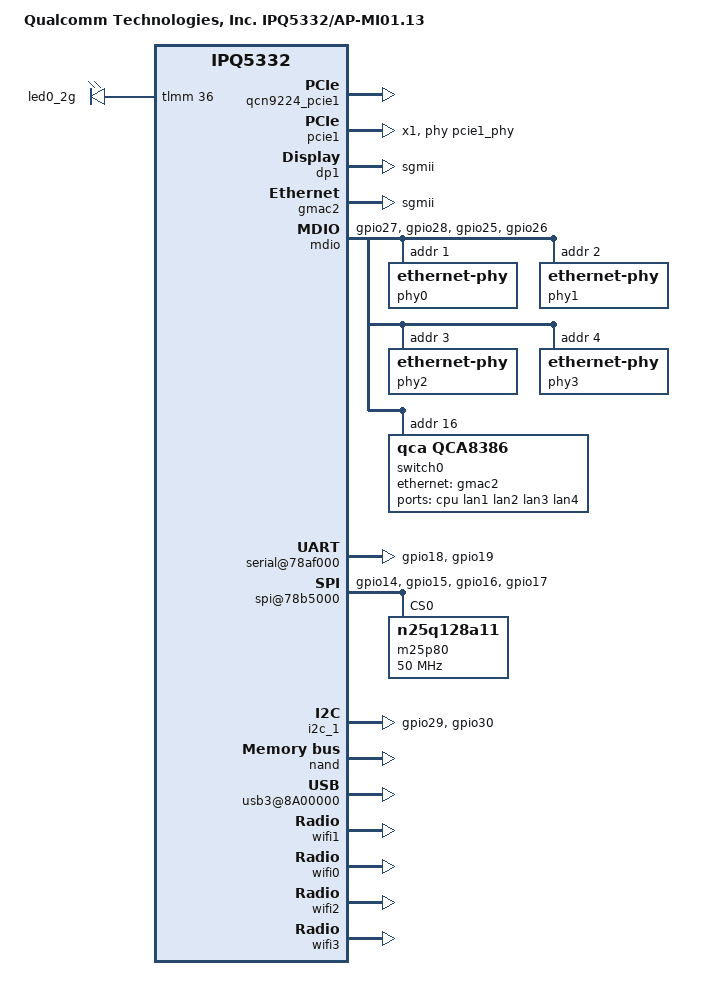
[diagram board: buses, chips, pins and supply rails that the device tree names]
// SPDX-License-Identifier: (GPL-2.0+ OR BSD-3-Clause)
/*
 * IPQ5332 AP-MI01.13 board device tree source
 *
 * Copyright (c) 2020-2021 The Linux Foundation. All rights reserved.
 * Copyright (c) 2022-2023 Qualcomm Innovation Center, Inc. All rights reserved.
 */

/dts-v1/;

#include "ipq5332.dtsi"
#include "ipq5332-memory.dtsi"

/ {
	#address-cells = <0x2>;
	#size-cells = <0x2>;
	model = "Qualcomm Technologies, Inc. IPQ5332/AP-MI01.13";
	compatible = "qcom,ipq5332-ap-mi01.13", "qcom,ipq5332";
	interrupt-parent = <&intc>;

	/*   Layout for IPQ5332 + QCN6432 + QCN9224 + QCN9160
	 * +==========+==============+========================+
	 * |         |              |                         |
	 * |  Region | Start Offset |          Size           |
	 * |         |              |                         |
	 * +---------+--------------+-------------------------+
	 * |   Q6    |              |                         |
	 * |  code/  |  0x4A900000  |          27MB           |
	 * |  data   |              |                         |
	 * +---------+--------------+-------------------------+
	 * | IPQ5332 |              |                         |
	 * |  data   |  0x4C400000  |          21MB           |
	 * +---------+--------------+-------------------------+
	 * | IPQ5332 |              |                         |
	 * | M3 Dump |  0x4D900000  |           1MB           |
	 * +---------+--------------+-------------------------+
	 * | IPQ5332 |              |                         |
	 * |  QDSS   |  0x4DA00000  |           1MB           |
	 * +---------+--------------+-------------------------+
	 * | IPQ5332 |              |                         |
	 * |  CALDB  |  0x4DB00000  |           5MB           |
	 * +---------+--------------+-------------------------+
	 * |QCN6432_1|              |                         |
	 * |  data   |  0x4E000000  |          21MB           |
	 * +---------+--------------+-------------------------+
	 * |QCN6432_1|              |                         |
	 * | M3 Dump |  0x4F500000  |           1MB           |
	 * +---------+--------------+-------------------------+
	 * |QCN6432_1|              |                         |
	 * |  QDSS   |  0x4F600000  |           1MB           |
	 * +---------+--------------+-------------------------+
	 * |QCN6432_1|              |                         |
	 * |  CALDB  |  0x4F700000  |           5MB           |
	 * +---------+--------------+-------------------------+
	 * | QCN9160 |              |                         |
	 * |  data   |  0x4FC00000  |          14MB           |
	 * +---------+--------------+-------------------------+
	 * | QCN9160 |              |                         |
	 * | M3 Dump |  0x50A00000  |           1MB           |
	 * +---------+--------------+-------------------------+
	 * | QCN9160 |              |                         |
	 * |  QDSS   |  0x50B00000  |           1MB           |
	 * +---------+--------------+-------------------------+
	 * | QCN9160 |              |                         |
	 * |  CALDB  |  0x50C00000  |           5MB           |
	 * +---------+--------------+-------------------------+
	 * |         |              |                         |
	 * |   MLO   |  0x51100000  |          18MB           |
	 * +---------+--------------+-------------------------+
	 * |         |              |                         |
	 * |  WKK1   |  0x52300000  |          50MB           |
	 * |         |              |                         |
	 * +---------+--------------+-------------------------+
	 * |         |              |                         |
	 * |  MHI1   |    DYNAMIC   |          9MB            |
	 * |         |              |                         |
	 * +==================================================+
	 * |                                                  |
	 * |                                                  |
	 * |                                                  |
	 * |             Rest of memory for Linux             |
	 * |                                                  |
	 * |                                                  |
	 * |                                                  |
	 * +==================================================+
	 */

	reserved-memory {

		/delete-node/ wcnss@4a900000;

		q6_mem_regions: q6_mem_regions@4A900000  {
			no-map;
			reg = <0x0 0x4a900000 0x0 0x6800000>;
		};

		q6_code_data: q6_code_data@4A900000 {
			no-map;
			reg = <0x0 0x4a900000 0x0 0x1B00000>;
		};

		q6_ipq5332_data: q6_ipq5332_data@4C400000 {
			no-map;
			reg = <0x0 0x4C400000 0x0 0x1500000>;
		};

		m3_dump: m3_dump@4D900000 {
			no-map;
			reg = <0x0 0x4D900000 0x0 0x100000>;
		};

		q6_etr_region: q6_etr_dump@4DA00000 {
			no-map;
			reg = <0x0 0x4DA00000 0x0 0x100000>;
		};

		q6_ipq5332_caldb: q6_ipq5332_caldb@4DB00000 {
			no-map;
			reg = <0x0 0x4DB00000 0x0 0x500000>;
		};

		q6_qcn6432_data_1: q6_qcn6432_data_1@4E000000 {
			no-map;
			reg = <0x0 0x4E000000 0x0 0x1500000>;
		};

		m3_dump_qcn6432_1: m3_dump_qcn6432_1@4F500000 {
			no-map;
			reg = <0x0 0x4F500000 0x0 0x100000>;
                };

		q6_qcn6432_etr_1: q6_qcn6432_etr_1@4F600000 {
			no-map;
			reg = <0x0 0x4F600000 0x0 0x100000>;
		};

		q6_qcn6432_caldb_1: q6_qcn6432_caldb_1@4F700000 {
			no-map;
			reg = <0x0 0x4F700000 0x0 0x500000>;
		};

		q6_qcn9160_data_2: q6_qcn9160_data_2@4FC00000 {
			no-map;
			reg = <0x0 0x4FC00000 0x0 0xe00000>;
		};

		m3_dump_qcn9160_2: m3_dump_qcn9160_2@50A00000 {
			no-map;
			reg = <0x0 0x50A00000 0x0 0x100000>;
		};

		q6_qcn9160_etr_2: q6_qcn9160_etr_2@50B00000 {
			no-map;
			reg = <0x0 0x50B00000 0x0 0x100000>;
		};

		q6_qcn9160_caldb_2: q6_qcn9160_caldb_2@50C00000 {
			no-map;
			reg = <0x0 0x50C00000 0x0 0x500000>;
		};

		mlo_global_mem0: mlo_global_mem_0@51100000 {
			no-map;
			reg = <0x0 0x51100000 0x0 0x1200000>;
		};

		qcn9224_pcie1: qcn9224_pcie1@52300000 {
			no-map;
			reg = <0x0 0x52300000 0x0 0x03200000>;
		};

		mhi_region1: dma_pool1@1 {
			compatible = "shared-dma-pool";
			no-map;
			size = <0x0 0x00900000>;
                };
	};

	aliases {
		serial0 = &blsp1_uart0;
		serial1 = &blsp1_uart1;
		ethernet0 = "/soc/dp1";
		ethernet1 = "/soc/dp2";
	};

	chosen {
		stdout-path = "serial0";
		bootargs-append = " clk_ignore_unused";
	};

	soc {
		pcie1_phy: phy@4b1000 {
			status = "ok";
		};

		pcie1: pcie@18000000 {
			num-lanes = <1>;
			phys = <&pcie1_phy>;
			status = "ok";
			pcie1_rp {
				reg = <0 0 0 0 0>;

				qcom,mhi@1 {
					reg = <0 0 0 0 0>;
					qti,disable-rddm-prealloc;
					qti,rddm-seg-len = <0x1000>;
					boot-args = <0x2 0x4 0x34 0x3 0x0 0x0     /* MX Rail, GPIO52, Drive strength 0x3 */
							0x4 0x4 0x18 0x3 0x0 0x0  /* RFA1p2 Rail, GPIO24, Drive strength 0x3 */
							0x0 0x4 0x0 0x0 0x0 0x0>; /* End of arguments */
#if defined(__CNSS2__)
					qrtr_node_id = <0x31>;
					memory-region = <0>, <&mhi_region1>;
#else
					qcom,board_id = <0x1019>;
					qcom,wsi = <&wsi>;
#endif
				};
			};
		};
		pinctrl@1000000 {
			spi_0_pins: spi0-pinmux {
				spi_clock {
					pins = "gpio14";
					function = "blsp0_spi";
					drive-strength = <2>;
					bias-pull-down;
				};

				spi_mosi {
					pins = "gpio15";
					function = "blsp0_spi";
					drive-strength = <2>;
					bias-pull-down;
				};

				spi_miso {
					pins = "gpio16";
					function = "blsp0_spi";
					drive-strength = <2>;
					bias-pull-down;
				};

				spi_cs {
					pins = "gpio17";
					function = "blsp0_spi";
					drive-strength = <2>;
					bias-pull-up;
				};
			};

			serial_0_pins: serial0-pinmux {
				pins = "gpio18", "gpio19";
				function = "blsp0_uart0";
				drive-strength = <8>;
				bias-pull-up;
			};

			serial_1_pins: serial1-pinmux {
				pins = "gpio33", "gpio34", "gpio35", "gpio36";
				function = "blsp1_uart2";
				drive-strength = <8>;
				bias-pull-up;
			};

			i2c_1_pins: i2c-1-pinmux {
				pins = "gpio29", "gpio30";
				function = "blsp1_i2c0";
				drive-strength = <8>;
				bias-pull-up;
			};

			leds_pins: leds_pinmux {
				led0_2g {
					pins = "gpio36";
					function = "gpio";
					drive-strength = <8>;
					bias-pull-down;
				};
			};

			mdio0_pins: mdio0_pinmux {
				mux_0 {
					pins = "gpio25";
					function = "mdc0";
					drive-strength = <2>;
					bias-pull-up;
				};
				mux_1 {
					pins = "gpio26";
					function = "mdio0";
					drive-strength = <2>;
					bias-pull-up;
				};
			};

			mdio1_pins: mdio1_pinmux {
				mux_0 {
					pins = "gpio27";
					function = "mdc1";
					drive-strength = <8>;
					bias-disable;
				};
				mux_1 {
					pins = "gpio28";
					function = "mdio1";
					drive-strength = <8>;
					bias-pull-up;
				};
			};

			sfp_pins: sfp_pinmux {
				sfp_rx {
					pins = "gpio45";
					function = "rx1";
					bias-disable;
				};
				sfp_tx {
					pins = "gpio24";
					function = "gpio";
					drive-strength = <8>;
					bias-pull-down;
					output-low;
				};
			};
		};

		dp1 {
			device_type = "network";
			compatible = "qcom,nss-dp";
			qcom,id = <2>;
			reg = <0x3a504000 0x4000>;
			qcom,mactype = <1>;
			local-mac-address = [000000000000];
			mdio-bus = <&mdio>;
			qcom,phy-mdio-addr = <30>;
			qcom,link-poll = <1>;
			phy-mode = "sgmii";
		};

		gmac2:dp2 {
			device_type = "network";
			compatible = "qcom,nss-dp";
			qcom,id = <1>;
			reg = <0x3a500000 0x4000>;
			qcom,mactype = <1>;
			local-mac-address = [000000000000];
			phy-mode = "sgmii";
			qcom,ppe-offload-disabled = <1>;
			qcom,mht-dev = <1>;
			qcom,is_switch_connected = <1>;
		};

		mdio:mdio@90000 {
			status = "ok";
			pinctrl-0 = <&mdio1_pins &mdio0_pins>;
			pinctrl-names = "default";
			/*gpio51 for manhattan reset*/
			phy-reset-gpio = <&tlmm 51 0>;
			phyaddr_fixup = <0xC90F018>;
			uniphyaddr_fixup = <0xC90F014>;
			mdio_clk_fixup; /* MDIO clock sequence fix up flag */

			phy0: ethernet-phy@0 {
				reg = <1>;
				fixup;
			};
			phy1: ethernet-phy@1 {
				reg = <2>;
				fixup;
			};
			phy2: ethernet-phy@2 {
				reg = <3>;
				fixup;
			};
			phy3: ethernet-phy@3 {
				reg = <4>;
				fixup;
			};

			switch0@10 {
				compatible = "qca,qca8386";
				#address-cells = <1>;
				#size-cells = <0>;
				reg = <0x10>;

				ports {
					#address-cells = <1>;
					#size-cells = <0>;

					port@0 {
						reg = <0>;
						label = "cpu";
						ethernet = <&gmac2>;
						phy-mode = "sgmii";
					};

					port@1 {
						reg = <1>;
						label = "lan1";
						phy-handle = <&phy0>;
					};

					port@2 {
						reg = <2>;
						label = "lan2";
						phy-handle = <&phy1>;
					};

					port@3 {
						reg = <3>;
						label = "lan3";
						phy-handle = <&phy2>;
					};

					port@4 {
						reg = <4>;
						label = "lan4";
						phy-handle = <&phy3>;
					};
				};
			};
		};

		ess-instance {
			num_devices = <0x2>;
			ess-switch@3a000000 {
				pinctrl-0 = <&sfp_pins>;
				pinctrl-names = "default";
				switch_cpu_bmp = <0x1>;  /* cpu port bitmap */
				switch_lan_bmp = <0x2>; /* lan port bitmap */
				switch_wan_bmp = <0x4>; /* wan port bitmap */
				switch_mac_mode = <0xc>; /* mac mode for uniphy instance0*/
				switch_mac_mode1 = <0xe>; /* mac mode for uniphy instance1*/
				switch_mac_mode2 = <0xff>; /* mac mode for uniphy instance2*/
				qcom,port_phyinfo {
					port@0 {
						port_id = <1>;
						forced-speed = <2500>;
						forced-duplex = <1>;
					};
					port@1 {
						port_id = <2>;
						phy_address = <30>;
						media-type = "sfp"; /* fiber mode */
					};
				};
			};

			ess-switch1@1 {
				compatible = "qcom,ess-switch-qca8386";
				device_id = <1>;
				switch_access_mode = "mdio";
				mdio-bus = <&mdio>;
				switch_mac_mode = <0xc>; /* mac mode for uniphy instance0 */
				switch_mac_mode1 = <0xff>; /* mac mode1 for uniphy instance1 */
				switch_cpu_bmp = <0x1>;  /* cpu port bitmap */
				switch_lan_bmp = <0x1e>; /* lan port bitmap */
				switch_wan_bmp = <0x0>;  /* wan port bitmap */
				link-polling-required = <0>;
				fdb_sync = "interrupt";
				link-intr-gpio = <&tlmm 23 0>;
				qcom,port_phyinfo {
					port@0 {
						port_id = <0>;
						forced-speed = <2500>;
						forced-duplex = <1>;
					};
					port@1 {
						port_id = <1>;
						phy_address = <1>;
					};
					port@2 {
						port_id = <2>;
						phy_address = <2>;
					};
					port@3 {
						port_id = <3>;
						phy_address = <3>;
					};
					port@4 {
						port_id = <4>;
						phy_address = <4>;
					};
				};

				led_source@2 {
					source = <2>;
					mode = "normal";
					speed = "all";
					blink_en = "enable";
					active = "high";
				};
				led_source@5 {
					source = <5>;
					mode = "normal";
					speed = "all";
					blink_en = "enable";
					active = "high";
				};
				led_source@8 {
					source = <8>;
					mode = "normal";
					speed = "all";
					blink_en = "enable";
					active = "high";
				};
				led_source@11 {
					source = <11>;
					mode = "normal";
					speed = "all";
					blink_en = "enable";
					active = "high";
				};
			};
		};
		/* EDMA host driver configuration for the board */
		edma@3ab00000 {
			qcom,txdesc-ring-start = <4>;		/* Tx desc ring start ID */
			qcom,txdesc-rings = <12>;		/* Total number of Tx desc rings to be provisioned */
			qcom,mht-txdesc-rings = <8>;            /* Extra Tx desc rings to be provisioned for MHT SW ports. */
			qcom,txcmpl-ring-start = <4>;		/* Tx complete ring start ID */
			qcom,txcmpl-rings = <12>;		/* Total number of Tx complete rings to be provisioned */
			qcom,mht-txcmpl-rings = <8>;		/* Extra Tx complete rings to be provisioned for mht sw ports. */
			qcom,rxfill-ring-start = <4>;		/* Rx fill ring start ID */
			qcom,rxfill-rings = <4>;		/* Total number of Rx fill rings to be provisioned */
			qcom,rxdesc-ring-start = <12>;		/* Rx desc ring start ID */
			qcom,rxdesc-rings = <4>;		/* Total number of Rx desc rings to be provisioned */
			qcom,rx-page-mode = <0>;		/* Rx fill ring page mode */
			qcom,tx-map-priority-level = <1>;	/* Tx priority level per port */
			qcom,rx-map-priority-level = <1>;	/* Rx priority level per core */
			qcom,ppeds-num = <2>;			/* Number of PPEDS nodes */
			/* PPE-DS node format: <Rx-fill Tx-cmpl Rx Tx Queue-base Queue-count> */
			qcom,ppeds-map = <1 1 1 1 32 8>,	/* PPEDS Node #1 ring and queue map */
					<2 2 2 2 40 8>;		/* PPEDS Node #2 ring and queue map */
			qcom,txdesc-map = <8 9 10 11>,		/* Port0 per-core Tx ring map */
					  <12 13 14 15>,	/* MHT-Port1 per-core Tx ring map */
					  <4 5 6 7>,		/* MHT-Port2 per-core Tx ring map/packets from  vp*/
					  <16 17 18 19>,	/* MHT-Port3 per-core Tx ring map */
					  <20 21 22 23>;	/* MHT-Port4 per-core Tx ring map */
			qcom,txdesc-fc-grp-map = <1 2 3 4 5>;	/* Per GMAC flow control group map */
			qcom,rxfill-map = <4 5 6 7>;		/* Per-core Rx fill ring map */
			qcom,rxdesc-map = <12 13 14 15>;	/* Per-core Rx desc ring map */
			qcom,rx-queue-start = <0>;		/* Rx queue start */
			qcom,rx-ring-queue-map = <0 8 16 24>,	/* Priority 0 queues per-core Rx ring map */
						<1 9 17 25>,	/* Priority 1 queues per-core Rx ring map */
						<2 10 18 26>,	/* Priority 2 queues per-core Rx ring map */
						<3 11 19 27>,	/* Priority 3 queues per-core Rx ring map */
						<4 12 20 28>,	/* Priority 4 queues per-core Rx ring map */
						<5 13 21 29>,	/* Priority 5 queues per-core Rx ring map */
						<6 14 22 30>,	/* Priority 6 queues per-core Rx ring map */
						<7 15 23 31>;	/* Priority 7 queues per-core Rx ring map */
			interrupts = <0 163 4>,			/* Tx complete ring id #4 IRQ info */
				   <0 164 4>,			/* Tx complete ring id #5 IRQ info */
				   <0 165 4>,			/* Tx complete ring id #6 IRQ info */
				   <0 166 4>,			/* Tx complete ring id #7 IRQ info */
				   <0 167 4>,			/* Tx complete ring id #8 IRQ info */
				   <0 168 4>,			/* Tx complete ring id #9 IRQ info */
				   <0 169 4>,			/* Tx complete ring id #10 IRQ info */
				   <0 170 4>,			/* Tx complete ring id #11 IRQ info */
				   <0 171 4>,			/* Tx complete ring id #12 IRQ info */
				   <0 172 4>,			/* Tx complete ring id #13 IRQ info */
				   <0 173 4>,			/* Tx complete ring id #14 IRQ info */
				   <0 174 4>,			/* Tx complete ring id #15 IRQ info */
				   <0 139 4>,			/* Rx desc ring id #12 IRQ info */
				   <0 140 4>,			/* Rx desc ring id #13 IRQ info */
				   <0 141 4>,			/* Rx desc ring id #14 IRQ info */
				   <0 142 4>,			/* Rx desc ring id #15 IRQ info */
				   <0 191 4>,			/* Misc error IRQ info */
				<0 160 4>,			/* PPEDS Node #1(TxComp ring id #1) TxComplete IRQ info */
				<0 128 4>,			/* PPEDS Node #1(Rx Desc ring id #1) Rx Desc IRQ info */
				<0 152 4>,			/* PPEDS Node #1(RxFill Desc ring id #1) Rx Fill IRQ info */
				<0 161 4>,			/* PPEDS Node #2(TxComp ring id #2) TxComplete IRQ info */
				<0 129 4>,			/* PPEDS Node #2(Rx Desc ring id #2) Rx Desc IRQ info */
				<0 153 4>,			/* PPEDS Node #2(RxFill Desc ring id #2) Rx Fill IRQ info */
				   <0 175 4>,			/* MHT port Tx complete ring id #16 IRQ info */
				   <0 176 4>,			/* MHT port Tx complete ring id #17 IRQ info */
				   <0 177 4>,			/* MHT port Tx complete ring id #18 IRQ info */
				   <0 178 4>,			/* MHT port Tx complete ring id #19 IRQ info */
				   <0 179 4>,			/* MHT port Tx complete ring id #20 IRQ info */
				   <0 180 4>,			/* MHT port Tx complete ring id #21 IRQ info */
				   <0 181 4>,			/* MHT port Tx complete ring id #22 IRQ info */
				   <0 182 4>;			/* MHT port Tx complete ring id #23 IRQ info */
		};

		serial@78af000 {
			pinctrl-0 = <&serial_0_pins>;
			pinctrl-names = "default";
			status = "ok";
		};

		serial@78b0000 {
			pinctrl-0 = <&serial_1_pins>;
			pinctrl-names = "default";
			status = "disabled";
		};

		spi@78b5000 {
			pinctrl-0 = <&spi_0_pins>;
			pinctrl-names = "default";
			cs-select = <0>;
			status = "ok";

			m25p80@0 {
				compatible = "n25q128a11";
				#address-cells = <1>;
				#size-cells = <1>;
				reg = <0>;
				spi-max-frequency = <50000000>;
			};
		};

		i2c_1: i2c@78b6000 {
			status = "ok";
			pinctrl-0 = <&i2c_1_pins>;
			pinctrl-names = "default";
		};

		dma@7984000 {
			status = "ok";
		};

		nand: nand@79b0000 {
			pinctrl-0 = <&qspi_nand_pins>;
			pinctrl-names = "default";
			status = "ok";
		};

		usb3@8A00000 {
			status = "ok";
			qcom,select-utmi-as-pipe-clk;
			dwc3@8A00000 {
				/delete-property/ #phy-cells;
				/delete-property/ phys;
				/delete-property/ phy-names;
			};
		};

		hs_m31phy_0: hs_m31phy@7b000 {
			status = "ok";
		};

		leds {
			compatible = "gpio-leds";
			pinctrl-0 = <&leds_pins>;
			pinctrl-names = "default";
			led@36 {
				label = "led0_2g";
				gpios = <&tlmm 36 GPIO_ACTIVE_HIGH>;
				linux,default-trigger = "led_2g";
				default-state = "off";
			};
		};

		wsi: wsi {
			id = <0>;
			num_chip = <3>;
		};

		q6v5_wcss: remoteproc@d100000 {
			boot-args = <0x1 0x5 0x3 0x0 0x26 0x2 0x0>,
					<0x1 0x5 0x4 0x2 0x2C 0x0 0x0>;
			memory-region = <&q6_mem_regions>,
					<&mlo_global_mem0>;

			q6_wcss_pd1: remoteproc_pd1 {
				memory-region = <&q6_ipq5332_data>,
						<&m3_dump>,
						<&q6_etr_region>,
						<&q6_ipq5332_caldb>,
						<&mlo_global_mem0>;
				status = "ok";
			};

			q6_wcss_pd2: remoteproc_pd2 {
				iu_firmware = "qcn6432/iu_fw.mdt";
				memory-region = <&q6_qcn6432_data_1>,
						<&m3_dump_qcn6432_1>,
						<&q6_qcn6432_etr_1>,
						<&q6_qcn6432_caldb_1>,
						<&mlo_global_mem0>;
				status = "ok";
			};


			q6_wcss_pd3: remoteproc_pd3 {
				iu_firmware = "qcn9160/m3_fw.mdt";
				memory-region = <&q6_qcn9160_data_2>,
						<&m3_dump_qcn9160_2>,
						<&q6_qcn9160_etr_2>,
						<&q6_qcn9160_caldb_2>;
				status = "ok";
			};

		};

		/delete-node/ wifi1@f00000;

		wifi1: wifi1@f00000 {
			qcom,multipd_arch;
			compatible = "qcom,cnss-qcn6432" , "qcom,qcn6432-wifi";
			interrupt-bmap = <0x100510>;
			interrupt-names = "umac_reset";
			msi-parent = <&v2m0>;
			qcom,rproc = <&q6_wcss_pd2>;
			qcom,rproc_rpd = <&q6v5_wcss>;
			qcom,userpd-subsys-name = "q6v5_wcss_userpd2";
			qcom,tgt-mem-mode = <0>;
			qcom,bdf-addr = <0x4E000000 0x4E000000 0x4E000000 0x0 0x0 0x0>;
			qcom,caldb-addr = <0x4F700000 0x4F700000 0x4F700000 0x0 0x0 0x0>;
			qcom,caldb-size = <0x500000>;
			qcom,board_id = <0x0b0>;
			mem-region = <&q6_qcn6432_data_1>;
			memory-region = <&q6_qcn6432_data_1>;
			qcom,pci_slot_id = <0>;
			qcom,wsi = <&wsi>;
			interrupts = <0 33 1>;
			status = "ok";
		};

	};
};

&wifi0 {
	qcom,multipd_arch;
	qcom,rproc = <&q6_wcss_pd1>;
	qcom,rproc_rpd = <&q6v5_wcss>;
	qcom,userpd-subsys-name = "q6v5_wcss_userpd1";
	qcom,tgt-mem-mode = <0>;
	qcom,bdf-addr = <0x4C400000 0x4C400000 0x4C400000 0x0 0x0 0x0>;
	qcom,caldb-addr = <0x4DB00000 0x4DB00000 0x4DB00000 0x0 0x0 0x0>;
	qcom,caldb-size = <0x500000>;
	qcom,board_id = <0x13>;
	mem-region = <&q6_ipq5332_data>;
	memory-region = <&q6_ipq5332_data>;
	qcom,wsi = <&wsi>;
	status = "ok";
};

&qcn9224_pcie1 {
	status = "ok";
};

&mhi_region1 {
	status = "ok";
};

&wifi2 {
	hremote_node = <&qcn9224_pcie1>;
	/* QCN9224 radio 5G
	 * +=========+==============+=========+
	 * |  Region | Start Offset |   Size  |
	 * +---------+--------------+---------+
	 * | HREMOTE |  0x52300000  |   28MB  |
	 * +---------+--------------+---------+
	 * | M3 Dump |  0x53F00000  |   1MB   |
	 * +---------+--------------+---------+
	 * |   ETR   |  0x54000000  |   1MB   |
	 * +---------+--------------+---------+
	 * |  Caldb  |  0x54100000  |   8MB   |
	 * +---------+--------------+---------+
	 * |Pageable |  0x54900000  |  12MB   |
	 * +==================================+
	 */
	base-addr = <0x52300000>;
	m3-dump-addr = <0x53F00000>;
	etr-addr = <0x54000000>;
	caldb-addr = <0x54100000>;
	pageable-addr = <0x54900000>;
	hremote-size = <0x1C00000>;
	pageable-size = <0xC00000>;
	tgt-mem-mode = <0x0>;
	board_id = <0x15>;
	status = "ok";
};

&wifi3 {
	qcom,multipd_arch;
	qcom,userpd-subsys-name = "q6v5_wcss_userpd3";
	qcom,rproc = <&q6_wcss_pd3>;
	qcom,tgt-mem-mode = <0>;
	qcom,board_id = <0x101>;
	qcom,bdf-addr = <0x4FC00000 0x4FC00000 0x4FC00000 0x0 0x0 0x0>;
	qcom,caldb-addr = <0x50C00000 0x50C00000 0x50C00000 0x0 0x0 0x0>;
	qcom,caldb-size = <0x500000>;
	m3-dump-addr = <0x50A00000>;
	mem-region = <&q6_qcn9160_data_2>;
	qcom,pci_slot_id = <2>;
	status = "ok";
};
